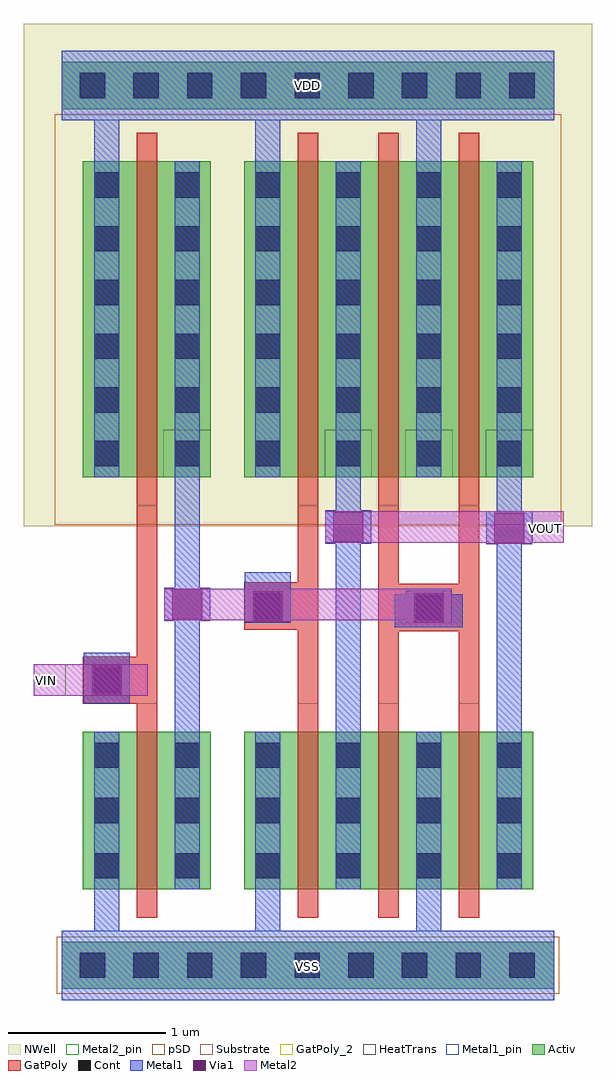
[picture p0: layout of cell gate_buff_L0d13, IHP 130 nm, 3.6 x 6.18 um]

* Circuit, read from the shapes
.subckt gate_buff_L0d13 VDD VIN VOUT VSS
XM1 n1 VIN VSS VSS sg13_lv_nmos w=1u l=0.13u
XM2 VOUT n1 VSS VSS sg13_lv_nmos w=1u l=0.13u m=3
XM3 n1 VIN VDD VDD sg13_lv_pmos w=2u l=0.13u
XM4 VOUT n1 VDD VDD sg13_lv_pmos w=2u l=0.13u m=3
.ends

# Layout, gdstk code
from math import pi, radians
import gdstk
lib = gdstk.Library(unit=1e-6, precision=1e-09)
def R(c, l, rs):  # rectangles x0, y0, x1, y1
    for r in rs: c.add(gdstk.rectangle(r[:2], r[2:], *l))
def A(c, l, x, y, w, h, nx, ny, dx, dy):  # array of equal rectangles
    R(c, l, [(x+i*dx, y+j*dy, x+i*dx+w, y+j*dy+h) for i in range(nx) for j in range(ny)])
Activ = (1, 0)
GatPoly = (5, 0)
GatPoly_2 = (5, 2)
Cont = (6, 0)
Metal1 = (8, 0)
Metal1_pin = (8, 2)
Metal2 = (10, 0)
Metal2_pin = (10, 2)
pSD = (14, 0)
Via1 = (19, 0)
NWell = (31, 0)
Substrate = (40, 0)
HeatTrans = (51, 0)

nmos = lib.new_cell('nmos')
R(nmos, Activ, [(0,0,0.3,0.3), (0,0,0.81,1), (0.51,0,0.81,0.3)])
R(nmos, GatPoly, [(0.34,-0.18,0.47,1.18)])
R(nmos, GatPoly_2, [(0.34,-0.18,0.47,1.18)])
A(nmos, Cont, 0.07, 0.07, 0.16, 0.16, 1, 3, 0, 0.35)
A(nmos, Cont, 0.58, 0.07, 0.16, 0.16, 1, 3, 0, 0.35)
R(nmos, Metal1, [(0.07,0,0.23,1), (0.58,0,0.74,1)])
R(nmos, Metal1_pin, [(0.07,0,0.23,1), (0.58,0,0.74,1)])
R(nmos, HeatTrans, [(0.34,-0.18,0.47,1.18)])
nmos.add(gdstk.Label('nmos', (0.405,0.5), layer=63, texttype=0))
nmos.add(gdstk.Label('nmos', (0.405,0.5), layer=51, texttype=0))

pmos = lib.new_cell('pmos')
R(pmos, Activ, [(0,0,0.3,0.3), (0,0,0.81,2), (0.51,0,0.81,0.3)])
R(pmos, GatPoly, [(0.34,-0.18,0.47,2.18), (0.34,-0.18,0.47,2.18)])
A(pmos, Cont, 0.07, 0.07, 0.16, 0.16, 1, 6, 0, 0.34)
A(pmos, Cont, 0.58, 0.07, 0.16, 0.16, 1, 6, 0, 0.34)
R(pmos, Metal1, [(0.07,0,0.23,2), (0.07,0,0.23,2), (0.58,0,0.74,2), (0.58,0,0.74,2)])
R(pmos, pSD, [(-0.18,-0.3,0.99,2.3)])
R(pmos, NWell, [(-0.31,-0.31,1.12,2.31)])
R(pmos, Substrate, [(0.51,0,0.81,0.3)])
R(pmos, HeatTrans, [(0.34,-0.18,0.47,2.18)])
pmos.add(gdstk.Label('pmos', (0.405,1), layer=63, texttype=0))
pmos.add(gdstk.Label('pmos', (0.405,1), layer=51, texttype=0))

via_stack_4 = lib.new_cell('via_stack$4')
R(via_stack_4, Metal1, [(-0.145,-0.105,0.145,0.105)])
R(via_stack_4, Metal2, [(-0.145,-0.1,0.145,0.1)])
R(via_stack_4, Via1, [(-0.095,-0.095,0.095,0.095)])

via_stack_7 = lib.new_cell('via_stack$7')
R(via_stack_7, Activ, [(-1.51,-0.15,1.51,0.15)])
A(via_stack_7, Cont, -1.44, -0.08, 0.16, 0.16, 9, 1, 0.34, 0)
R(via_stack_7, Metal1, [(-1.49,-0.08,1.49,0.08)])

via_stack_2 = lib.new_cell('via_stack$2')
R(via_stack_2, GatPoly, [(-0.15,-0.15,0.15,0.15)])
R(via_stack_2, Cont, [(-0.08,-0.08,0.08,0.08)])
R(via_stack_2, Metal1, [(-0.145,-0.105,0.145,0.105)])
R(via_stack_2, Metal2, [(-0.145,-0.1,0.145,0.1)])
R(via_stack_2, Via1, [(-0.095,-0.095,0.095,0.095)])

via_stack_5 = lib.new_cell('via_stack$5')
R(via_stack_5, GatPoly, [(-0.15,-0.15,0.15,0.15)])
R(via_stack_5, Cont, [(-0.08,-0.08,0.08,0.08)])
R(via_stack_5, Metal1, [(-0.145,-0.105,0.145,0.105)])
R(via_stack_5, Metal2, [(-0.145,-0.1,0.145,0.1)])
R(via_stack_5, Via1, [(-0.095,-0.095,0.095,0.095)])

gate_buff_l0d13 = lib.new_cell('gate_buff_L0d13')
R(gate_buff_l0d13, Activ, [(0.185,0.05,3.305,0.35), (0.185,5.62,3.305,5.92)])
R(gate_buff_l0d13, GatPoly, [(0.62,1.855,0.66,2.155), (2.32,2.315,2.7,2.615), (1.64,2.325,1.68,2.625)])
R(gate_buff_l0d13, Metal1, [(0.325,1.86,0.615,2.18), (2.295,2.34,2.725,2.55), (1.345,2.37,1.635,2.69)])
R(gate_buff_l0d13, Metal1_pin, [(0.185,-0.02,3.305,0.42), (0.185,5.55,3.305,5.99)])
R(gate_buff_l0d13, Metal2_pin, [(0.01,1.905,0.21,2.105), (3.165,2.875,3.365,3.075)])
R(gate_buff_l0d13, pSD, [(0.155,0.02,3.335,0.38)])
R(gate_buff_l0d13, NWell, [(-0.055,2.98,3.545,6.16)])
gate_buff_l0d13.add(gdstk.FlexPath([(0.185,5.77),(3.305,5.77)], 0.44, ends="flush", simple_path=True, layer=8, datatype=0))  # Metal1
gate_buff_l0d13.add(gdstk.FlexPath([(2.51,5.29),(2.51,5.55)], 0.16, ends="flush", simple_path=True, layer=8, datatype=0))  # Metal1
gate_buff_l0d13.add(gdstk.FlexPath([(0.47,5.29),(0.47,5.55)], 0.16, ends="flush", simple_path=True, layer=8, datatype=0))  # Metal1
gate_buff_l0d13.add(gdstk.FlexPath([(1.49,5.29),(1.49,5.55)], 0.16, ends="flush", simple_path=True, layer=8, datatype=0))  # Metal1
gate_buff_l0d13.add(gdstk.FlexPath([(0.98,3.29),(0.98,1.68)], 0.16, ends="flush", simple_path=True, layer=8, datatype=0))  # Metal1
gate_buff_l0d13.add(gdstk.FlexPath([(2,3.29),(2,1.68)], 0.16, ends="flush", simple_path=True, layer=8, datatype=0))  # Metal1
gate_buff_l0d13.add(gdstk.FlexPath([(3.02,3.29),(3.02,1.68)], 0.16, ends="flush", simple_path=True, layer=8, datatype=0))  # Metal1
gate_buff_l0d13.add(gdstk.FlexPath([(0.185,0.2),(3.305,0.2)], 0.44, ends="flush", simple_path=True, layer=8, datatype=0))  # Metal1
gate_buff_l0d13.add(gdstk.FlexPath([(0.47,0.42),(0.47,0.68)], 0.16, ends="flush", simple_path=True, layer=8, datatype=0))  # Metal1
gate_buff_l0d13.add(gdstk.FlexPath([(1.49,0.68),(1.49,0.42)], 0.16, ends="flush", simple_path=True, layer=8, datatype=0))  # Metal1
gate_buff_l0d13.add(gdstk.FlexPath([(2.51,0.68),(2.51,0.42)], 0.16, ends="flush", simple_path=True, layer=8, datatype=0))  # Metal1
gate_buff_l0d13.add(gdstk.FlexPath([(0.725,3.11),(0.725,1.86)], 0.13, ends="flush", simple_path=True, layer=5, datatype=0))  # GatPoly
gate_buff_l0d13.add(gdstk.FlexPath([(1.745,3.11),(1.745,1.86)], 0.13, ends="flush", simple_path=True, layer=5, datatype=0))  # GatPoly
gate_buff_l0d13.add(gdstk.FlexPath([(2.255,3.11),(2.255,1.86)], 0.13, ends="flush", simple_path=True, layer=5, datatype=0))  # GatPoly
gate_buff_l0d13.add(gdstk.FlexPath([(2.765,3.11),(2.765,1.86)], 0.13, ends="flush", simple_path=True, layer=5, datatype=0))  # GatPoly
gate_buff_l0d13.add(gdstk.FlexPath([(2.145,2.975),(3.365,2.975)], 0.2, ends="flush", simple_path=True, layer=10, datatype=0))  # Metal2
gate_buff_l0d13.add(gdstk.FlexPath([(1.125,2.485),(2.655,2.485)], 0.2, ends="flush", simple_path=True, layer=10, datatype=0))  # Metal2
gate_buff_l0d13.add(gdstk.FlexPath([(0.01,2.005),(0.73,2.005)], 0.2, ends="flush", simple_path=True, layer=10, datatype=0))  # Metal2
gate_buff_l0d13.add(gdstk.Reference(nmos, (0.32,0.68)))
gate_buff_l0d13.add(gdstk.Reference(nmos, (2.36,0.68)))
gate_buff_l0d13.add(gdstk.Reference(nmos, (1.85,0.68)))
gate_buff_l0d13.add(gdstk.Reference(nmos, (1.34,0.68)))
gate_buff_l0d13.add(gdstk.Reference(pmos, (1.34,3.29)))
gate_buff_l0d13.add(gdstk.Reference(via_stack_4, (0.98,2.485), rotation=pi))
gate_buff_l0d13.add(gdstk.Reference(pmos, (0.32,3.29)))
gate_buff_l0d13.add(gdstk.Reference(pmos, (1.85,3.29)))
gate_buff_l0d13.add(gdstk.Reference(pmos, (2.36,3.29)))
gate_buff_l0d13.add(gdstk.Reference(via_stack_7, (1.74,5.77)))
gate_buff_l0d13.add(gdstk.Reference(via_stack_4, (3.02,2.97)))
gate_buff_l0d13.add(gdstk.Reference(via_stack_2, (2.51,2.465)))
gate_buff_l0d13.add(gdstk.Reference(via_stack_2, (1.49,2.475)))
gate_buff_l0d13.add(gdstk.Reference(via_stack_4, (2,2.975)))
gate_buff_l0d13.add(gdstk.Reference(via_stack_5, (0.47,2.005)))
gate_buff_l0d13.add(gdstk.Reference(via_stack_7, (1.74,0.2)))
gate_buff_l0d13.add(gdstk.Label('VDD', (1.74,5.77), layer=8, texttype=25))
gate_buff_l0d13.add(gdstk.Label('VSS', (1.74,0.195), layer=8, texttype=25))
gate_buff_l0d13.add(gdstk.Label('VOUT', (3.246,2.966), layer=10, texttype=25))
gate_buff_l0d13.add(gdstk.Label('VIN', (0.092,2.002), layer=10, texttype=25))

lib.write_gds('gate_buff_L0d13.gds')
